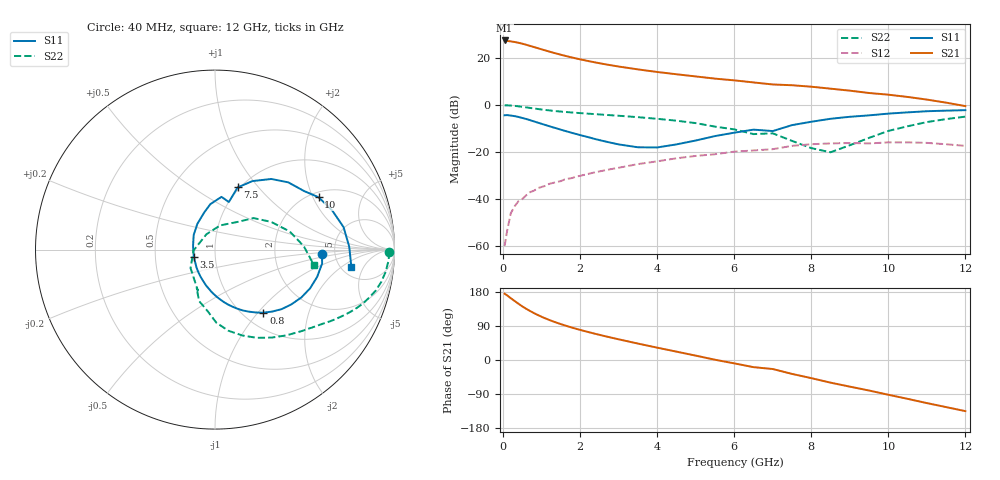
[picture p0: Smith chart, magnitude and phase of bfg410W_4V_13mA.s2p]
! Filename: 413bfg410.001
! BFG410W Field B1
! V1=8.637E-001V,V2=4.000E+000V, I1=1.863E-004A, I2=1.299E-002A
# GHz  S  MA  R 50
!  S11  S21  S12  S22
!Freq(GHz)  Mag  Ang  Mag  Ang  Mag  Ang  Mag  Ang
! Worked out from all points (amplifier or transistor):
!   44 points, 40 MHz to 12 GHz, reference 50 ohm
!   highest |S21| = 27.2 dB at 40 MHz (marker M1)
!   |S21| within 3 dB of that: start of sweep to 844.7 MHz
!   unconditionally stable (mu >= 1): start of sweep to 53.37 MHz; 1.738 GHz to end of sweep
!   at 700 MHz: K = 0.57, MSG = 31.0 dB, |S12| = -37.1 dB
!   at 2.4 GHz: K = 1.12, MAG = 21.2 dB, |S12| = -28.6 dB
!   at 12 GHz: K = 1.49, MAG = 4.3 dB, |S12| = -17.5 dB
!   S11 on the Smith chart (normalised r, x): 40 MHz: 3.92, -0.31; 800 MHz: 1.22, -1.07; 3.5 GHz: 0.79, -0.06; 7.5 GHz: 0.98, +0.78; 10 GHz: 2.21, +2.21; 12 GHz: 6.15, -2.90
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0.04  0.596 -2.4  23.03 174.8  0.001 55.1  0.967 -0.7
0.2  0.589 -15.0  22.02 163.0  0.005 79.0  0.959 -7.4
0.3  0.572 -22.2  21.36 155.8  0.007 76.8  0.944 -10.9
0.4  0.55 -29.0  20.57 148.4  0.009 73.8  0.924 -14.3
0.5  0.523 -35.8  19.66 141.4  0.01 71.1  0.9 -17.3
0.6  0.498 -41.8  18.67 135.1  0.012 69.4  0.878 -19.9
0.8  0.443 -52.6  16.72 123.8  0.015 66.0  0.832 -24.5
1  0.393 -61.6  14.94 114.1  0.018 63.8  0.791 -28.4
1.1  0.371 -65.8  14.13 109.7  0.019 62.7  0.774 -30.1
1.4  0.313 -77.0  12.05 98.1  0.023 60.8  0.727 -34.7
1.8  0.251 -90.8  9.975 85.2  0.028 58.7  0.682 -40.2
2.2  0.206 -104.0  8.465 74.1  0.034 56.5  0.646 -45.8
2.8  0.156 -126.6  6.861 59.2  0.043 52.5  0.598 -54.3
3.5  0.125 -161.1  5.603 43.4  0.055 46.0  0.544 -64.7
4.5  0.144 145.5  4.422 22.1  0.073 34.1  0.458 -80.6
5.5  0.216 106.0  3.573 0.7  0.089 19.0  0.343 -97.2
6.5  0.296 83.0  2.967 -18.9  0.107 5.2  0.238 -115.4
7.5  0.369 70.0  2.587 -36.7  0.134 -5.6  0.171 -142.7
8.5  0.503 51.5  2.188 -59.8  0.151 -28.7  0.098 119.3
10  0.647 26.8  1.631 -91.7  0.159 -59.0  0.278 39.2
10.5  0.688 18.6  1.46 -102.5  0.159 -69.5  0.349 26.2
12  0.766 -7.3  0.934 -134.9  0.134 -107.9  0.559 -9.0
